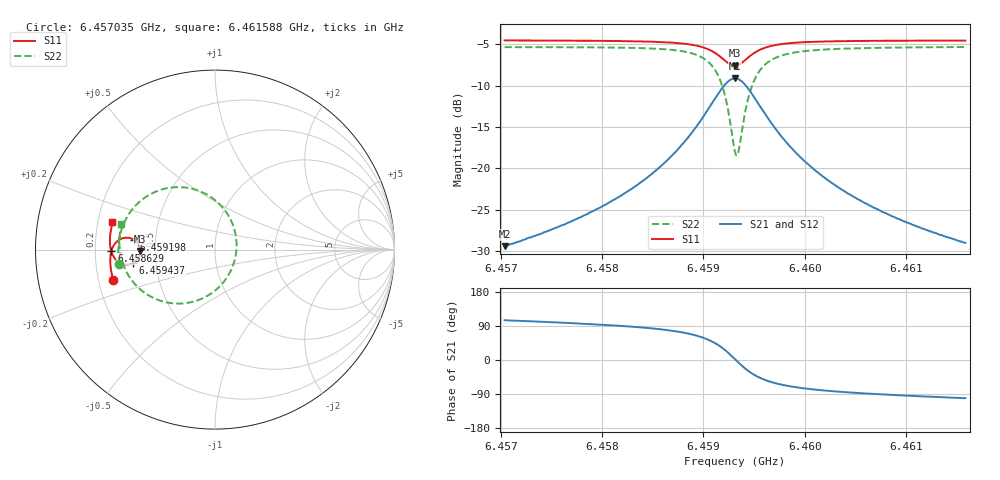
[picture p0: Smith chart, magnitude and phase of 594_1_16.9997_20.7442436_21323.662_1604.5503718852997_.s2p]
#  HZ  S  RI  R  50.00
! Rohde & Schwarz Vector Network Analyzer
! Rohde-Schwarz,ZNB20-2Port,1311601062101988,3.16
! Created: UTC 3/20/2024, 11:18:44 PM
! freq[Hz]  re:S11  im:S11  re:S21  im:S21  re:S12  im:S12  re:S22  im:S22
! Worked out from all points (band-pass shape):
!   401 points, 6.457035 GHz to 6.461588 GHz, reference 50 ohm
!   highest |S21| = -9.13 dB at 6.459312 GHz (marker M1); lowest = -29.4 dB at 6.457035 GHz (marker M2)
!   |S21| within 3 dB of the highest: 6.459084 GHz to 6.45954 GHz (455.7 kHz wide, 0.00706 % of centre)
!   lowest |S11| = -7.6 dB at 6.459312 GHz (marker M3), VSWR 2.43, Z = 20.6 - j0.415 ohm
!   |S11| at or under -10 dB: nowhere
!   |S22| runs from -18.4 to -5.3 dB; largest |S21 - S12| = 0.014
!   S11 on the Smith chart (normalised r, x): 6.457035 GHz: 0.26, -0.13; 6.458629 GHz: 0.27, -0.01; 6.459198 GHz: 0.38, +0.05; 6.459437 GHz: 0.37, -0.07; 6.461588 GHz: 0.26, +0.12
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6.4570349e9  -0.5679 -0.1678  -0.00881 0.0328  -0.00697 0.0328  -0.5339 -0.0795
6.4577976e9  -0.5812 -0.1008  -0.00529 0.051  -0.00265 0.0504  -0.5383 0.0105
6.4582301e9  -0.5839 -0.0572  0.00111 0.0715  0.00435 0.07  -0.5291 0.0801
6.4585603e9  -0.5798 -0.0172  0.0149 0.0997  0.019 0.097  -0.5032 0.156
6.4586286e9  -0.5774 -0.00772  0.0204 0.1081  0.0245 0.1049  -0.4931 0.1761
6.4588221e9  -0.5646 0.0227  0.0474 0.1392  0.0515 0.1343  -0.4423 0.2455
6.4589701e9  -0.5416 0.0489  0.0932 0.1698  0.0965 0.1631  -0.3574 0.3099
6.4591067e9  -0.4973 0.0663  0.1814 0.1862  0.1823 0.1787  -0.1962 0.348
6.4591978e9  -0.4524 0.0556  0.272 0.1543  0.2724 0.1484  -0.0281 0.2963
6.4592661e9  -0.4231 0.0231  0.3331 0.0813  0.3351 0.0761  0.0883 0.1647
6.4593116e9  -0.4162 -0.00832  0.3491 0.0126  0.3531 0.00566  0.1203 0.036
6.4593458e9  -0.4204 -0.0322  0.3433 -0.0403  0.3472 -0.0495  0.1082 -0.0647
6.4593913e9  -0.4361 -0.0585  0.3141 -0.1007  0.3164 -0.1129  0.0492 -0.1793
6.4594368e9  -0.4584 -0.0751  0.2715 -0.1421  0.2706 -0.1556  -0.0372 -0.2548
6.4594824e9  -0.4815 -0.0819  0.2264 -0.1646  0.2224 -0.1779  -0.1278 -0.2918
6.4595279e9  -0.5023 -0.0819  0.1854 -0.1732  0.1792 -0.185  -0.2086 -0.3007
6.4596759e9  -0.5465 -0.0613  0.0966 -0.1589  0.0881 -0.1651  -0.3783 -0.2499
6.4598353e9  -0.5682 -0.0337  0.0514 -0.1306  0.0436 -0.1334  -0.4592 -0.1767
6.4600743e9  -0.5809 0.00193  0.022 -0.0984  0.0162 -0.0989  -0.5074 -0.0933
6.4604272e9  -0.5855 0.044  0.00583 -0.0704  0.00165 -0.07  -0.5291 -0.0112
6.460837e9  -0.5835 0.0854  -0.00159 -0.0525  -0.00454 -0.0515  -0.5329 0.0547
6.4615883e9  -0.5713 0.152  -0.00655 -0.035  -0.00835 -0.034  -0.5214 0.1443
